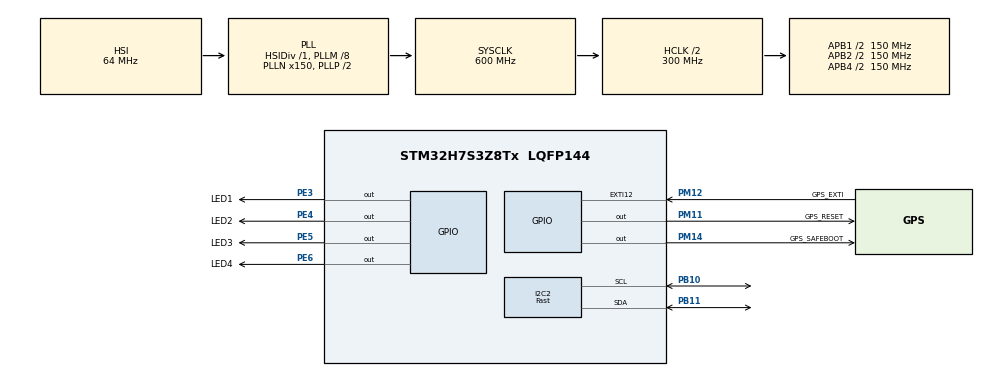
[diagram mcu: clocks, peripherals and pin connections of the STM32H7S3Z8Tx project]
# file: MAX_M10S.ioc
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Appli.IPs=CORTEX_M7_APPLI\:I,GPDMA1,GPIO,HPDMA1,LINKEDLIST,NVIC2\:I,RCC
Boot.IPs=CORTEX_M7_BOOT\:I,GPDMA1\:I,GPIO,HPDMA1\:I,LINKEDLIST\:I,NVIC1\:I,RCC\:I,MEMORYMAP\:I,SBS,I2C2,TIM14,SYS
Boot.Pins=PE3,PE4,PE5,PE6,PM12,PM11,PM14
CORTEX_M7_APPLI.Enable_S-Cortex_Memory_Protection_Unit_Region1_Settings_S=MPU_REGION_ENABLE
CORTEX_M7_APPLI.default_mode_Activation=1
CORTEX_M7_BOOT.AccessPermission_S-Cortex_Memory_Protection_Unit_Region1_Settings_S=MPU_REGION_FULL_ACCESS
CORTEX_M7_BOOT.BaseAddress_S-Cortex_Memory_Protection_Unit_Region1_Settings_S=0x2404FC00
CORTEX_M7_BOOT.CPU_DCache=Enabled
CORTEX_M7_BOOT.CPU_ICache=Enabled
CORTEX_M7_BOOT.DisableExec_S-Cortex_Memory_Protection_Unit_Region1_Settings_S=MPU_INSTRUCTION_ACCESS_DISABLE
CORTEX_M7_BOOT.Enable_S-Cortex_Memory_Protection_Unit_Region1_Settings_S=MPU_REGION_ENABLE
CORTEX_M7_BOOT.Size_S-Cortex_Memory_Protection_Unit_Region1_Settings_S=MPU_REGION_SIZE_1KB
CORTEX_M7_BOOT.TypeExtField_S-Cortex_Memory_Protection_Unit_Region1_Settings_S=MPU_TEX_LEVEL1
CORTEX_M7_BOOT.default_mode_Activation=1
ExtMemLoader.IPs=EXTMEM_LOADER\:I,EXTMEM_MANAGER\:I,GPDMA1,GPIO\:I,HPDMA1,LINKEDLIST
GPDMA1.DESTINC_GPDMACH0=DMA_DINC_INCREMENTED
GPDMA1.DIRECTION_GPDMACH1=DMA_MEMORY_TO_PERIPH
GPDMA1.REQUEST_GPDMACH0=GPDMA1_REQUEST_I2C2_RX
GPDMA1.REQUEST_GPDMACH1=GPDMA1_REQUEST_I2C2_TX
GPDMA1.SRCINC_GPDMACH1=DMA_SINC_INCREMENTED
I2C2.I2C_Speed_Mode=I2C_Fast
I2C2.Timing=0x00E063FF
Mcu.Family=STM32H7
Mcu.Name=STM32H7S3Z8Tx
Mcu.Package=LQFP144
NVIC1.EXTI12_IRQn=true\:0\:0\:false\:false\:true\:true\:true\:true
NVIC1.GPDMA1_Channel0_IRQn=true\:0\:0\:false\:false\:true\:false\:true\:true
NVIC1.GPDMA1_Channel1_IRQn=true\:0\:0\:false\:false\:true\:false\:true\:true
NVIC1.I2C2_ER_IRQn=true\:0\:0\:false\:false\:true\:true\:true\:true
NVIC1.I2C2_EV_IRQn=true\:0\:0\:false\:false\:true\:true\:true\:true
NVIC1.PriorityGroup=NVIC_PRIORITYGROUP_4
NVIC1.TIM14_IRQn=true\:0\:0\:false\:false\:true\:true\:true\:true
NVIC2.PriorityGroup=NVIC_PRIORITYGROUP_4
PA8.GPIO_Pu=GPIO_PULLUP
PA8.PinAttribute=Boot
PA8.Signal=I2C3_SCL
PB10.GPIO_Pu=GPIO_PULLUP
PB10.Mode=I2C
PB10.PinAttribute=Boot
PB10.Signal=I2C2_SCL
PB11.GPIO_Pu=GPIO_PULLUP
PB11.Mode=I2C
PB11.PinAttribute=Boot
PB11.Signal=I2C2_SDA
PE3.GPIO_Label=LED1
PE3.PinAttribute=Boot
PE3.Signal=GPIO_Output
PE4.GPIO_Label=LED2
PE4.PinAttribute=Boot
PE4.Signal=GPIO_Output
PE5.GPIO_Label=LED3
PE5.PinAttribute=Boot
PE5.Signal=GPIO_Output
PE6.GPIO_Label=LED4
PE6.PinAttribute=Boot
PE6.Signal=GPIO_Output
PM11.GPIO_Label=GPS_RESET
PM11.PinAttribute=Boot
PM11.Signal=GPIO_Output
PM12.GPIO_Label=GPS_EXTI
PM12.PinAttribute=Boot
PM12.Signal=GPXTI12
PM14.GPIO_Label=GPS_SAFEBOOT
PM14.PinAttribute=Boot
PM14.Signal=GPIO_Output
ProjectManager.HeapSize=App-0x200,Boot-0x200,ExtMemLoader-0x200
ProjectManager.StackSize=App-0x400,Boot-0x400,ExtMemLoader-0x400
ProjectManager.TargetToolchain=CMake
RCC.ADCFreq_Value=128000000
RCC.APB1Freq_Value=150000000
RCC.APB2Freq_Value=150000000
RCC.APB4Freq_Value=150000000
RCC.BMPRE=RCC_HCLK_DIV2
RCC.CortexFreq_Value=600000000
RCC.DIVM1=8
RCC.DIVN1=150
RCC.HCLKFreq_Value=300000000
RCC.HSE_VALUE=32000000
RCC.PPRE1=RCC_APB1_DIV2
RCC.PPRE2=RCC_APB2_DIV2
RCC.PPRE4=RCC_APB4_DIV2
RCC.PPRE5=RCC_APB5_DIV2
RCC.SYSCLKFreq_VALUE=600000000
RCC.SYSCLKSource=RCC_SYSCLKSOURCE_PLLCLK
SBS.IO_OTHER=Enable
TIM14.PeriodNoDither=29999
TIM14.Prescaler=9999
VP_GPDMA1_VS_GPDMACH0.Mode=SIMPLEREQUEST_GPDMACH0
VP_GPDMA1_VS_GPDMACH1.Mode=SIMPLEREQUEST_GPDMACH1
VP_MEMORYMAP_VS_MEMORYMAP.Mode=CurAppReg
VP_SBS_VS-SBS.Mode=SBS
VP_TIM14_VS_ClockSourceINT.Mode=Enable_Timer
board=custom

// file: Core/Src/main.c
/* USER CODE BEGIN Header */
/**
  ******************************************************************************
  * @file           : main.c
  * @brief          : Main program body
  ******************************************************************************
  * @attention
  *
  * Copyright (c) 2026 STMicroelectronics.
  * All rights reserved.
  *
  * This software is licensed under terms that can be found in the LICENSE file
  * in the root directory of this software component.
  * If no LICENSE file comes with this software, it is provided AS-IS.
  *
  ******************************************************************************
  */
/* USER CODE END Header */
#include "main.h"
#include "cmsis_gcc.h"
#include "gpdma.h"
#include "i2c.h"
#include "sbs.h"
#include "tim.h"
#include "gpio.h"

/* USER CODE BEGIN Includes */
#include "SENSORS/max-m10s.h"
#include <stdint.h>
/* USER CODE END Includes */

/* USER CODE BEGIN PV */
MAX_M10S_Data_t gnss;

volatile uint32_t cycles = 0;
volatile uint32_t start_cnt = 0;
volatile uint64_t total_cycles = 0;
volatile float cpu_usage = 0;
volatile float odr = 0;
/* USER CODE END PV */

void SystemClock_Config(void);
static void MPU_Config(void);

int main(void)
{

  /* MPU Configuration--------------------------------------------------------*/
  MPU_Config();

  /* Enable the CPU Cache */

  /* Enable I-Cache---------------------------------------------------------*/
  SCB_EnableICache();

  /* Enable D-Cache---------------------------------------------------------*/
  SCB_EnableDCache();

  /* MCU Configuration--------------------------------------------------------*/

  /* Reset of all peripherals, Initializes the Flash interface and the Systick. */
  HAL_Init();

  /* Configure the system clock */
  SystemClock_Config();

  /* Initialize all configured peripherals */
  MX_GPIO_Init();
  MX_GPDMA1_Init();
  MX_SBS_Init();
  MX_I2C2_Init();
  MX_TIM14_Init();
  /* USER CODE BEGIN 2 */
  CoreDebug->DEMCR |= CoreDebug_DEMCR_TRCENA_Msk;
  DWT->LAR = 0xC5ACCE55;
  DWT->CYCCNT = 0;
  DWT->CTRL |= DWT_CTRL_CYCCNTENA_Msk;
  HAL_TIM_Base_Start_IT(&htim14);

  if (MAX_M10S_Init(&hi2c2) != MAX_M10S_OK) {
    while (1);
  }
  /* USER CODE END 2 */

  /* Infinite loop */
  /* USER CODE BEGIN WHILE */
  while (1)
  {
    if (MAX_M10S_CopyLatestData(&gnss) == MAX_M10S_NEW_DATA) {
      // Do something
      __NOP();
    }
    /* USER CODE END WHILE */

  }
}

void SystemClock_Config(void)
{
  RCC_OscInitTypeDef RCC_OscInitStruct = {0};
  RCC_ClkInitTypeDef RCC_ClkInitStruct = {0};

  /** Configure the main internal regulator output voltage
  */
  if (HAL_PWREx_ControlVoltageScaling(PWR_REGULATOR_VOLTAGE_SCALE0) != HAL_OK)
  {
    Error_Handler();
  }

  /** Configure LSE Drive Capability
  */
  HAL_PWR_EnableBkUpAccess();

  /** Initializes the RCC Oscillators according to the specified parameters
  * in the RCC_OscInitTypeDef structure.
  */
  RCC_OscInitStruct.OscillatorType = RCC_OSCILLATORTYPE_HSI;
  RCC_OscInitStruct.HSIState = RCC_HSI_ON;
  RCC_OscInitStruct.HSIDiv = RCC_HSI_DIV1;
  RCC_OscInitStruct.HSICalibrationValue = RCC_HSICALIBRATION_DEFAULT;
  RCC_OscInitStruct.PLL1.PLLState = RCC_PLL_ON;
  RCC_OscInitStruct.PLL1.PLLSource = RCC_PLLSOURCE_HSI;
  RCC_OscInitStruct.PLL1.PLLM = 8;
  RCC_OscInitStruct.PLL1.PLLN = 150;
  RCC_OscInitStruct.PLL1.PLLP = 2;
  RCC_OscInitStruct.PLL1.PLLQ = 2;
  RCC_OscInitStruct.PLL1.PLLR = 2;
  RCC_OscInitStruct.PLL1.PLLS = 2;
  RCC_OscInitStruct.PLL1.PLLT = 2;
  RCC_OscInitStruct.PLL1.PLLFractional = 0;
  RCC_OscInitStruct.PLL2.PLLState = RCC_PLL_NONE;
  RCC_OscInitStruct.PLL3.PLLState = RCC_PLL_NONE;
  if (HAL_RCC_OscConfig(&RCC_OscInitStruct) != HAL_OK)
  {
    Error_Handler();
  }

  /** Initializes the CPU, AHB and APB buses clocks
  */
  RCC_ClkInitStruct.ClockType = RCC_CLOCKTYPE_HCLK|RCC_CLOCKTYPE_SYSCLK
                              |RCC_CLOCKTYPE_PCLK1|RCC_CLOCKTYPE_PCLK2
                              |RCC_CLOCKTYPE_PCLK4|RCC_CLOCKTYPE_PCLK5;
  RCC_ClkInitStruct.SYSCLKSource = RCC_SYSCLKSOURCE_PLLCLK;
  RCC_ClkInitStruct.SYSCLKDivider = RCC_SYSCLK_DIV1;
  RCC_ClkInitStruct.AHBCLKDivider = RCC_HCLK_DIV2;
  RCC_ClkInitStruct.APB1CLKDivider = RCC_APB1_DIV2;
  RCC_ClkInitStruct.APB2CLKDivider = RCC_APB2_DIV2;
  RCC_ClkInitStruct.APB4CLKDivider = RCC_APB4_DIV2;
  RCC_ClkInitStruct.APB5CLKDivider = RCC_APB5_DIV2;

  if (HAL_RCC_ClockConfig(&RCC_ClkInitStruct, FLASH_LATENCY_7) != HAL_OK)
  {
    Error_Handler();
  }
}

/* USER CODE BEGIN 4 */
void HAL_TIM_PeriodElapsedCallback (TIM_HandleTypeDef *htim) {
	if (htim == &htim14) {
		cpu_usage = ((float)total_cycles / 600000000.0f) * 100.0f;
		total_cycles = 0;
	}
}

void HAL_GPIO_EXTI_Callback(uint16_t GPIO_Pin) {
    switch (GPIO_Pin) {
        case GPS_EXTI_Pin:
            if (MAX_M10S_HandleEvent(EVENT_START_CYCLE) != MAX_M10S_OK) {
                return;
            }
            break;
    }
}

void HAL_I2C_MemRxCpltCallback(I2C_HandleTypeDef *hi2c) {
    switch ((uint32_t)hi2c->Instance) {
        case (uint32_t)I2C2:
            if (MAX_M10S_HandleEvent(EVENT_I2C_RX_DONE) != MAX_M10S_OK) {
                return;
            }
            break;
    }
}
/* USER CODE END 4 */

 /* MPU Configuration */

static void MPU_Config(void)
{
  MPU_Region_InitTypeDef MPU_InitStruct = {0};

  /* Disables the MPU */
  HAL_MPU_Disable();

  /** Initializes and configures the Region and the memory to be protected
  */
  MPU_InitStruct.Enable = MPU_REGION_ENABLE;
  MPU_InitStruct.Number = MPU_REGION_NUMBER0;
  MPU_InitStruct.BaseAddress = 0x0;
  MPU_InitStruct.Size = MPU_REGION_SIZE_4GB;
  MPU_InitStruct.SubRegionDisable = 0x87;
  MPU_InitStruct.TypeExtField = MPU_TEX_LEVEL0;
  MPU_InitStruct.AccessPermission = MPU_REGION_NO_ACCESS;
  MPU_InitStruct.DisableExec = MPU_INSTRUCTION_ACCESS_DISABLE;
  MPU_InitStruct.IsShareable = MPU_ACCESS_SHAREABLE;
  MPU_InitStruct.IsCacheable = MPU_ACCESS_NOT_CACHEABLE;
  MPU_InitStruct.IsBufferable = MPU_ACCESS_NOT_BUFFERABLE;

  HAL_MPU_ConfigRegion(&MPU_InitStruct);

  /** Initializes and configures the Region and the memory to be protected
  */
  MPU_InitStruct.Number = MPU_REGION_NUMBER1;
  MPU_InitStruct.BaseAddress = 0x2404FC00;
  MPU_InitStruct.Size = MPU_REGION_SIZE_1KB;
  MPU_InitStruct.SubRegionDisable = 0x0;
  MPU_InitStruct.TypeExtField = MPU_TEX_LEVEL1;
  MPU_InitStruct.AccessPermission = MPU_REGION_FULL_ACCESS;
  MPU_InitStruct.IsShareable = MPU_ACCESS_NOT_SHAREABLE;

  HAL_MPU_ConfigRegion(&MPU_InitStruct);
  /* Enables the MPU */
  HAL_MPU_Enable(MPU_PRIVILEGED_DEFAULT);

}

void Error_Handler(void)
{
  __disable_irq();
  while (1)
  {
  }
}
